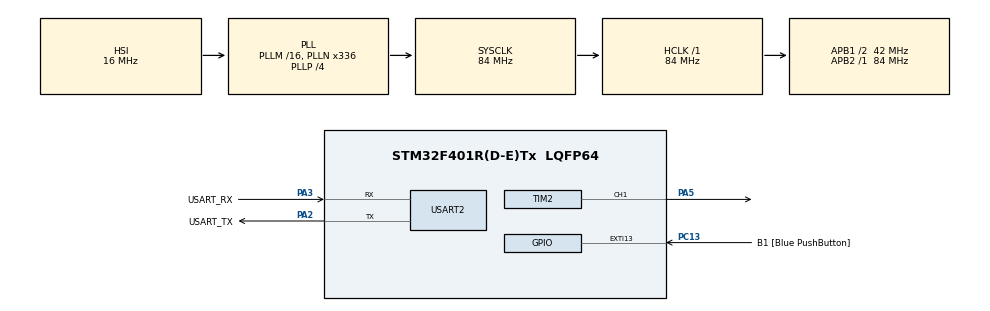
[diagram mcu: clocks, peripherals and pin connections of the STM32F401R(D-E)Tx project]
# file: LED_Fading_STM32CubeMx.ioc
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Mcu.Family=STM32F4
Mcu.Name=STM32F401R(D-E)Tx
Mcu.Package=LQFP64
NVIC.PriorityGroup=NVIC_PRIORITYGROUP_0
PA13.GPIO_Label=TMS
PA13.Mode=Serial_Wire
PA13.Signal=SYS_JTMS-SWDIO
PA14.GPIO_Label=TCK
PA14.Mode=Serial_Wire
PA14.Signal=SYS_JTCK-SWCLK
PA2.GPIO_Label=USART_TX
PA2.GPIO_Mode=GPIO_MODE_AF_PP
PA2.GPIO_PuPd=GPIO_NOPULL
PA2.GPIO_Speed=GPIO_SPEED_FREQ_LOW
PA2.Mode=Asynchronous
PA2.Signal=USART2_TX
PA3.GPIO_Label=USART_RX
PA3.GPIO_Mode=GPIO_MODE_AF_PP
PA3.GPIO_PuPd=GPIO_NOPULL
PA3.GPIO_Speed=GPIO_SPEED_FREQ_LOW
PA3.Mode=Asynchronous
PA3.Signal=USART2_RX
PA5.Signal=S_TIM2_CH1_ETR
PB3.GPIO_Label=SWO
PB3.Signal=SYS_JTDO-SWO
PC13-ANTI_TAMP.GPIO_Label=B1 [Blue PushButton]
PC13-ANTI_TAMP.GPIO_ModeDefaultEXTI=GPIO_MODE_IT_FALLING
PC13-ANTI_TAMP.GPIO_PuPd=GPIO_NOPULL
PC13-ANTI_TAMP.Signal=GPXTI13
PC14-OSC32_IN.Mode=LSE-External-Oscillator
PC14-OSC32_IN.Signal=RCC_OSC32_IN
PC15-OSC32_OUT.Mode=LSE-External-Oscillator
PC15-OSC32_OUT.Signal=RCC_OSC32_OUT
PH0\ -\ OSC_IN.Mode=HSE-External-Clock-Source
PH0\ -\ OSC_IN.Signal=RCC_OSC_IN
PH1\ -\ OSC_OUT.Mode=HSE-External-Clock-Source
PH1\ -\ OSC_OUT.Signal=RCC_OSC_OUT
ProjectManager.HeapSize=0x200
ProjectManager.StackSize=0x400
ProjectManager.TargetToolchain=EWARM V8
RCC.48MHZClocksFreq_Value=48000000
RCC.AHBFreq_Value=84000000
RCC.APB1CLKDivider=RCC_HCLK_DIV2
RCC.APB1Freq_Value=42000000
RCC.APB1TimFreq_Value=84000000
RCC.APB2Freq_Value=84000000
RCC.APB2TimFreq_Value=84000000
RCC.CortexFreq_Value=84000000
RCC.HCLKFreq_Value=84000000
RCC.HSE_VALUE=8000000
RCC.HSI_VALUE=16000000
RCC.PLLN=336
RCC.PLLP=RCC_PLLP_DIV4
RCC.PLLQ=7
RCC.SYSCLKFreq_VALUE=84000000
RCC.SYSCLKSource=RCC_SYSCLKSOURCE_PLLCLK
RCC.VCOOutputFreq_Value=336000000
SH.S_TIM2_CH1_ETR.0=TIM2_CH1,PWM Generation1 CH1
TIM2.Channel-PWM\ Generation1\ CH1=TIM_CHANNEL_1
TIM2.Period=2000-1
TIM2.Prescaler=840-1
USART2.VirtualMode=VM_ASYNC
board=NUCLEO-F401RE

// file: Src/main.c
/**
  ******************************************************************************
  * @file           : main.c
  * @brief          : Main program body
  ******************************************************************************
  ** This notice applies to any and all portions of this file
  * that are not between comment pairs USER CODE BEGIN and
  * USER CODE END. Other portions of this file, whether
  * inserted by the user or by software development tools
  * are owned by their respective copyright owners.
  *
  * COPYRIGHT(c) 2019 STMicroelectronics
  *
  * Redistribution and use in source and binary forms, with or without modification,
  * are permitted provided that the following conditions are met:
  *   1. Redistributions of source code must retain the above copyright notice,
  *      this list of conditions and the following disclaimer.
  *   2. Redistributions in binary form must reproduce the above copyright notice,
  *      this list of conditions and the following disclaimer in the documentation
  *      and/or other materials provided with the distribution.
  *   3. Neither the name of STMicroelectronics nor the names of its contributors
  *      may be used to endorse or promote products derived from this software
  *      without specific prior written permission.
  *
  * THIS SOFTWARE IS PROVIDED BY THE COPYRIGHT HOLDERS AND CONTRIBUTORS "AS IS"
  * AND ANY EXPRESS OR IMPLIED WARRANTIES, INCLUDING, BUT NOT LIMITED TO, THE
  * IMPLIED WARRANTIES OF MERCHANTABILITY AND FITNESS FOR A PARTICULAR PURPOSE ARE
  * DISCLAIMED. IN NO EVENT SHALL THE COPYRIGHT HOLDER OR CONTRIBUTORS BE LIABLE
  * FOR ANY DIRECT, INDIRECT, INCIDENTAL, SPECIAL, EXEMPLARY, OR CONSEQUENTIAL
  * DAMAGES (INCLUDING, BUT NOT LIMITED TO, PROCUREMENT OF SUBSTITUTE GOODS OR
  * SERVICES; LOSS OF USE, DATA, OR PROFITS; OR BUSINESS INTERRUPTION) HOWEVER
  * CAUSED AND ON ANY THEORY OF LIABILITY, WHETHER IN CONTRACT, STRICT LIABILITY,
  * OR TORT (INCLUDING NEGLIGENCE OR OTHERWISE) ARISING IN ANY WAY OUT OF THE USE
  * OF THIS SOFTWARE, EVEN IF ADVISED OF THE POSSIBILITY OF SUCH DAMAGE.
  *
  ******************************************************************************
  */
#include "main.h"
#include "stm32f4xx_hal.h"

TIM_HandleTypeDef htim2;

UART_HandleTypeDef huart2;

/* USER CODE BEGIN PV */
/* Private variables ---------------------------------------------------------*/
uint16_t pwm_value = 0;
int16_t step = 0;

/* USER CODE END PV */

void SystemClock_Config(void);
static void MX_GPIO_Init(void);
static void MX_USART2_UART_Init(void);
static void MX_TIM2_Init(void);
void HAL_TIM_MspPostInit(TIM_HandleTypeDef *htim);

/* USER CODE BEGIN PFP */
/* Private function prototypes -----------------------------------------------*/
void user_pwm_setvalue(uint16_t value);

/* USER CODE END PFP */

int main(void)
{

  /* MCU Configuration----------------------------------------------------------*/

  /* Reset of all peripherals, Initializes the Flash interface and the Systick. */
  HAL_Init();

  /* Configure the system clock */
  SystemClock_Config();

  /* Initialize all configured peripherals */
  MX_GPIO_Init();
  MX_USART2_UART_Init();
  MX_TIM2_Init();
  /* USER CODE BEGIN 2 */
  HAL_TIM_PWM_Start(&htim2, TIM_CHANNEL_1);

  /* USER CODE END 2 */

  /* Infinite loop */
  while (1)
  {

  /* USER CODE BEGIN 3 */
    HAL_Delay(100);
    if(pwm_value == 0) step = 50;
    if(pwm_value == 1000) step = -50;
    pwm_value += step;
    user_pwm_setvalue(pwm_value);
  }
  /* USER CODE END 3 */

}

void SystemClock_Config(void)
{

  RCC_OscInitTypeDef RCC_OscInitStruct;
  RCC_ClkInitTypeDef RCC_ClkInitStruct;

    /**Configure the main internal regulator output voltage
    */
  __HAL_RCC_PWR_CLK_ENABLE();

  __HAL_PWR_VOLTAGESCALING_CONFIG(PWR_REGULATOR_VOLTAGE_SCALE2);

    /**Initializes the CPU, AHB and APB busses clocks
    */
  RCC_OscInitStruct.OscillatorType = RCC_OSCILLATORTYPE_HSI;
  RCC_OscInitStruct.HSIState = RCC_HSI_ON;
  RCC_OscInitStruct.HSICalibrationValue = 16;
  RCC_OscInitStruct.PLL.PLLState = RCC_PLL_ON;
  RCC_OscInitStruct.PLL.PLLSource = RCC_PLLSOURCE_HSI;
  RCC_OscInitStruct.PLL.PLLM = 16;
  RCC_OscInitStruct.PLL.PLLN = 336;
  RCC_OscInitStruct.PLL.PLLP = RCC_PLLP_DIV4;
  RCC_OscInitStruct.PLL.PLLQ = 7;
  if (HAL_RCC_OscConfig(&RCC_OscInitStruct) != HAL_OK)
  {
    _Error_Handler(__FILE__, __LINE__);
  }

    /**Initializes the CPU, AHB and APB busses clocks
    */
  RCC_ClkInitStruct.ClockType = RCC_CLOCKTYPE_HCLK|RCC_CLOCKTYPE_SYSCLK
                              |RCC_CLOCKTYPE_PCLK1|RCC_CLOCKTYPE_PCLK2;
  RCC_ClkInitStruct.SYSCLKSource = RCC_SYSCLKSOURCE_PLLCLK;
  RCC_ClkInitStruct.AHBCLKDivider = RCC_SYSCLK_DIV1;
  RCC_ClkInitStruct.APB1CLKDivider = RCC_HCLK_DIV2;
  RCC_ClkInitStruct.APB2CLKDivider = RCC_HCLK_DIV1;

  if (HAL_RCC_ClockConfig(&RCC_ClkInitStruct, FLASH_LATENCY_2) != HAL_OK)
  {
    _Error_Handler(__FILE__, __LINE__);
  }

    /**Configure the Systick interrupt time
    */
  HAL_SYSTICK_Config(HAL_RCC_GetHCLKFreq()/1000);

    /**Configure the Systick
    */
  HAL_SYSTICK_CLKSourceConfig(SYSTICK_CLKSOURCE_HCLK);

  /* SysTick_IRQn interrupt configuration */
  HAL_NVIC_SetPriority(SysTick_IRQn, 0, 0);
}

/* TIM2 init function */
static void MX_TIM2_Init(void)
{

  TIM_MasterConfigTypeDef sMasterConfig;
  TIM_OC_InitTypeDef sConfigOC;

  htim2.Instance = TIM2;
  htim2.Init.Prescaler = 840-1;
  htim2.Init.CounterMode = TIM_COUNTERMODE_UP;
  htim2.Init.Period = 1000-1;
  htim2.Init.ClockDivision = TIM_CLOCKDIVISION_DIV1;
  if (HAL_TIM_PWM_Init(&htim2) != HAL_OK)
  {
    _Error_Handler(__FILE__, __LINE__);
  }

  sMasterConfig.MasterOutputTrigger = TIM_TRGO_RESET;
  sMasterConfig.MasterSlaveMode = TIM_MASTERSLAVEMODE_DISABLE;
  if (HAL_TIMEx_MasterConfigSynchronization(&htim2, &sMasterConfig) != HAL_OK)
  {
    _Error_Handler(__FILE__, __LINE__);
  }

  sConfigOC.OCMode = TIM_OCMODE_PWM1;
  sConfigOC.Pulse = 0;
  sConfigOC.OCPolarity = TIM_OCPOLARITY_HIGH;
  sConfigOC.OCFastMode = TIM_OCFAST_DISABLE;
  if (HAL_TIM_PWM_ConfigChannel(&htim2, &sConfigOC, TIM_CHANNEL_1) != HAL_OK)
  {
    _Error_Handler(__FILE__, __LINE__);
  }

  HAL_TIM_MspPostInit(&htim2);

}

/* USART2 init function */
static void MX_USART2_UART_Init(void)
{

  huart2.Instance = USART2;
  huart2.Init.BaudRate = 115200;
  huart2.Init.WordLength = UART_WORDLENGTH_8B;
  huart2.Init.StopBits = UART_STOPBITS_1;
  huart2.Init.Parity = UART_PARITY_NONE;
  huart2.Init.Mode = UART_MODE_TX_RX;
  huart2.Init.HwFlowCtl = UART_HWCONTROL_NONE;
  huart2.Init.OverSampling = UART_OVERSAMPLING_16;
  if (HAL_UART_Init(&huart2) != HAL_OK)
  {
    _Error_Handler(__FILE__, __LINE__);
  }

}

/** Configure pins as
        * Analog
        * Input
        * Output
        * EVENT_OUT
        * EXTI
*/
static void MX_GPIO_Init(void)
{

  GPIO_InitTypeDef GPIO_InitStruct;

  /* GPIO Ports Clock Enable */
  __HAL_RCC_GPIOC_CLK_ENABLE();
  __HAL_RCC_GPIOH_CLK_ENABLE();
  __HAL_RCC_GPIOA_CLK_ENABLE();
  __HAL_RCC_GPIOB_CLK_ENABLE();

  /*Configure GPIO pin : B1_Pin */
  GPIO_InitStruct.Pin = B1_Pin;
  GPIO_InitStruct.Mode = GPIO_MODE_IT_FALLING;
  GPIO_InitStruct.Pull = GPIO_NOPULL;
  HAL_GPIO_Init(B1_GPIO_Port, &GPIO_InitStruct);

}

/* USER CODE BEGIN 4 */

void user_pwm_setvalue(uint16_t value)
{
    TIM_OC_InitTypeDef sConfigOC;

    sConfigOC.OCMode = TIM_OCMODE_PWM1;
    sConfigOC.Pulse = value;
    sConfigOC.OCPolarity = TIM_OCPOLARITY_HIGH;
    sConfigOC.OCFastMode = TIM_OCFAST_DISABLE;
    HAL_TIM_PWM_ConfigChannel(&htim2, &sConfigOC, TIM_CHANNEL_1);
    HAL_TIM_PWM_Start(&htim2, TIM_CHANNEL_1);
}

/* USER CODE END 4 */

void _Error_Handler(char *file, int line)
{
  while(1)
  {
  }
}

/************************ (C) COPYRIGHT STMicroelectronics *****END OF FILE****/
